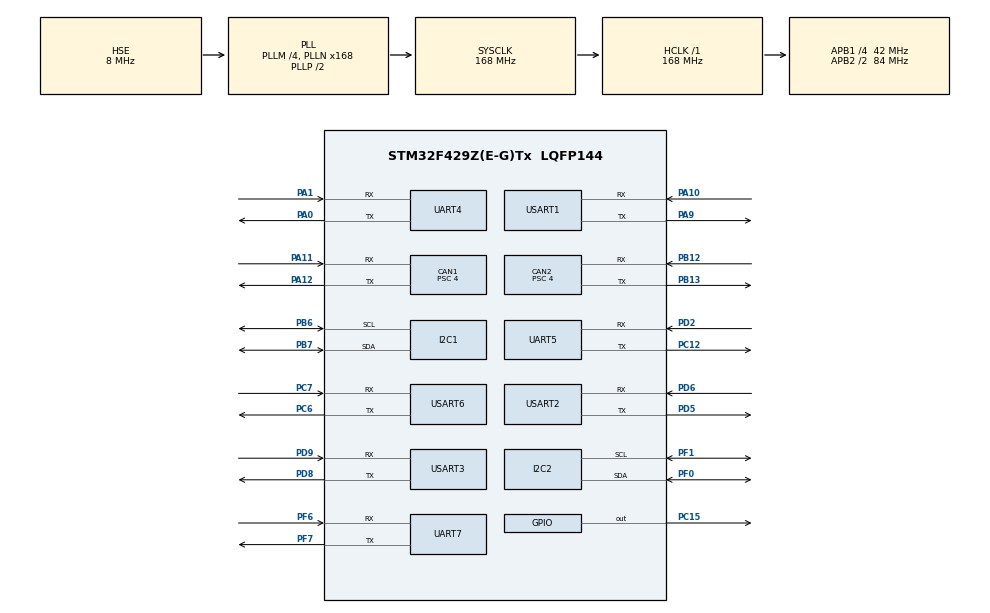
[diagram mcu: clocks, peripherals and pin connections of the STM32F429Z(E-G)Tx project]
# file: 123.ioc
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CAN1.BS1=CAN_BS1_14TQ
CAN1.BS2=CAN_BS2_6TQ
CAN1.CalculateBaudRate=500000
CAN1.CalculateTimeBit=2000
CAN1.CalculateTimeQuantum=95.23809523809524
CAN1.Prescaler=4
CAN2.BS1=CAN_BS1_14TQ
CAN2.BS2=CAN_BS2_6TQ
CAN2.CalculateBaudRate=500000
CAN2.CalculateTimeBit=2000
CAN2.CalculateTimeQuantum=95.23809523809524
CAN2.Prescaler=4
Dma.Request0=UART5_TX
Dma.Request1=USART1_TX
Dma.Request2=USART1_RX
Dma.Request3=USART2_RX
Dma.Request4=USART2_TX
Dma.Request5=USART3_RX
Dma.Request6=USART3_TX
Dma.Request7=UART5_RX
Dma.Request8=USART6_TX
Dma.Request9=USART6_RX
Dma.UART5_RX.7.Direction=DMA_PERIPH_TO_MEMORY
Dma.UART5_RX.7.FIFOMode=DMA_FIFOMODE_DISABLE
Dma.UART5_RX.7.Instance=DMA1_Stream0
Dma.UART5_RX.7.MemDataAlignment=DMA_MDATAALIGN_BYTE
Dma.UART5_RX.7.MemInc=DMA_MINC_ENABLE
Dma.UART5_RX.7.Mode=DMA_NORMAL
Dma.UART5_RX.7.PeriphDataAlignment=DMA_PDATAALIGN_BYTE
Dma.UART5_RX.7.PeriphInc=DMA_PINC_DISABLE
Dma.UART5_RX.7.Priority=DMA_PRIORITY_LOW
Dma.UART5_TX.0.Direction=DMA_MEMORY_TO_PERIPH
Dma.UART5_TX.0.FIFOMode=DMA_FIFOMODE_DISABLE
Dma.UART5_TX.0.Instance=DMA1_Stream7
Dma.UART5_TX.0.MemDataAlignment=DMA_MDATAALIGN_BYTE
Dma.UART5_TX.0.MemInc=DMA_MINC_ENABLE
Dma.UART5_TX.0.Mode=DMA_NORMAL
Dma.UART5_TX.0.PeriphDataAlignment=DMA_PDATAALIGN_BYTE
Dma.UART5_TX.0.PeriphInc=DMA_PINC_DISABLE
Dma.UART5_TX.0.Priority=DMA_PRIORITY_LOW
Dma.USART1_RX.2.Direction=DMA_PERIPH_TO_MEMORY
Dma.USART1_RX.2.FIFOMode=DMA_FIFOMODE_DISABLE
Dma.USART1_RX.2.Instance=DMA2_Stream2
Dma.USART1_RX.2.MemDataAlignment=DMA_MDATAALIGN_BYTE
Dma.USART1_RX.2.MemInc=DMA_MINC_ENABLE
Dma.USART1_RX.2.Mode=DMA_NORMAL
Dma.USART1_RX.2.PeriphDataAlignment=DMA_PDATAALIGN_BYTE
Dma.USART1_RX.2.PeriphInc=DMA_PINC_DISABLE
Dma.USART1_RX.2.Priority=DMA_PRIORITY_LOW
Dma.USART1_TX.1.Direction=DMA_MEMORY_TO_PERIPH
Dma.USART1_TX.1.FIFOMode=DMA_FIFOMODE_DISABLE
Dma.USART1_TX.1.Instance=DMA2_Stream7
Dma.USART1_TX.1.MemDataAlignment=DMA_MDATAALIGN_BYTE
Dma.USART1_TX.1.MemInc=DMA_MINC_ENABLE
Dma.USART1_TX.1.Mode=DMA_NORMAL
Dma.USART1_TX.1.PeriphDataAlignment=DMA_PDATAALIGN_BYTE
Dma.USART1_TX.1.PeriphInc=DMA_PINC_DISABLE
Dma.USART1_TX.1.Priority=DMA_PRIORITY_LOW
Dma.USART2_RX.3.Direction=DMA_PERIPH_TO_MEMORY
Dma.USART2_RX.3.FIFOMode=DMA_FIFOMODE_DISABLE
Dma.USART2_RX.3.Instance=DMA1_Stream5
Dma.USART2_RX.3.MemDataAlignment=DMA_MDATAALIGN_BYTE
Dma.USART2_RX.3.MemInc=DMA_MINC_ENABLE
Dma.USART2_RX.3.Mode=DMA_NORMAL
Dma.USART2_RX.3.PeriphDataAlignment=DMA_PDATAALIGN_BYTE
Dma.USART2_RX.3.PeriphInc=DMA_PINC_DISABLE
Dma.USART2_RX.3.Priority=DMA_PRIORITY_LOW
Dma.USART2_TX.4.Direction=DMA_MEMORY_TO_PERIPH
Dma.USART2_TX.4.FIFOMode=DMA_FIFOMODE_DISABLE
Dma.USART2_TX.4.Instance=DMA1_Stream6
Dma.USART2_TX.4.MemDataAlignment=DMA_MDATAALIGN_BYTE
Dma.USART2_TX.4.MemInc=DMA_MINC_ENABLE
Dma.USART2_TX.4.Mode=DMA_NORMAL
Dma.USART2_TX.4.PeriphDataAlignment=DMA_PDATAALIGN_BYTE
Dma.USART2_TX.4.PeriphInc=DMA_PINC_DISABLE
Dma.USART2_TX.4.Priority=DMA_PRIORITY_LOW
Dma.USART3_RX.5.Direction=DMA_PERIPH_TO_MEMORY
Dma.USART3_RX.5.FIFOMode=DMA_FIFOMODE_DISABLE
Dma.USART3_RX.5.Instance=DMA1_Stream1
Dma.USART3_RX.5.MemDataAlignment=DMA_MDATAALIGN_BYTE
Dma.USART3_RX.5.MemInc=DMA_MINC_ENABLE
Dma.USART3_RX.5.Mode=DMA_NORMAL
Dma.USART3_RX.5.PeriphDataAlignment=DMA_PDATAALIGN_BYTE
Dma.USART3_RX.5.PeriphInc=DMA_PINC_DISABLE
Dma.USART3_RX.5.Priority=DMA_PRIORITY_LOW
Dma.USART3_TX.6.Direction=DMA_MEMORY_TO_PERIPH
Dma.USART3_TX.6.FIFOMode=DMA_FIFOMODE_DISABLE
Dma.USART3_TX.6.Instance=DMA1_Stream4
Dma.USART3_TX.6.MemDataAlignment=DMA_MDATAALIGN_BYTE
Dma.USART3_TX.6.MemInc=DMA_MINC_ENABLE
Dma.USART3_TX.6.Mode=DMA_NORMAL
Dma.USART3_TX.6.PeriphDataAlignment=DMA_PDATAALIGN_BYTE
Dma.USART3_TX.6.PeriphInc=DMA_PINC_DISABLE
Dma.USART3_TX.6.Priority=DMA_PRIORITY_LOW
Dma.USART6_RX.9.Direction=DMA_PERIPH_TO_MEMORY
Dma.USART6_RX.9.FIFOMode=DMA_FIFOMODE_DISABLE
Dma.USART6_RX.9.Instance=DMA2_Stream1
Dma.USART6_RX.9.MemDataAlignment=DMA_MDATAALIGN_BYTE
Dma.USART6_RX.9.MemInc=DMA_MINC_ENABLE
Dma.USART6_RX.9.Mode=DMA_NORMAL
Dma.USART6_RX.9.PeriphDataAlignment=DMA_PDATAALIGN_BYTE
Dma.USART6_RX.9.PeriphInc=DMA_PINC_DISABLE
Dma.USART6_RX.9.Priority=DMA_PRIORITY_LOW
Dma.USART6_TX.8.Direction=DMA_MEMORY_TO_PERIPH
Dma.USART6_TX.8.FIFOMode=DMA_FIFOMODE_DISABLE
Dma.USART6_TX.8.Instance=DMA2_Stream6
Dma.USART6_TX.8.MemDataAlignment=DMA_MDATAALIGN_BYTE
Dma.USART6_TX.8.MemInc=DMA_MINC_ENABLE
Dma.USART6_TX.8.Mode=DMA_NORMAL
Dma.USART6_TX.8.PeriphDataAlignment=DMA_PDATAALIGN_BYTE
Dma.USART6_TX.8.PeriphInc=DMA_PINC_DISABLE
Dma.USART6_TX.8.Priority=DMA_PRIORITY_LOW
FREERTOS.Tasks01=defaultTask,24,128,StartDefaultTask,Default,NULL,Dynamic,NULL,NULL
FREERTOS.configCHECK_FOR_STACK_OVERFLOW=1
FREERTOS.configIDLE_SHOULD_YIELD=0
FREERTOS.configLIBRARY_LOWEST_INTERRUPT_PRIORITY=15
FREERTOS.configTOTAL_HEAP_SIZE=25360
I2C1.AddressingMode=I2C_ADDRESSINGMODE_7BIT
I2C1.DualAddressMode=I2C_DUALADDRESS_DISABLE
I2C1.GeneralCallMode=I2C_GENERALCALL_DISABLE
I2C1.I2C_Mode=I2C_Fast
I2C2.I2C_Mode=I2C_Fast
Mcu.Family=STM32F4
Mcu.Name=STM32F429Z(E-G)Tx
Mcu.Package=LQFP144
NVIC.CAN1_RX0_IRQn=true\:5\:0\:false\:false\:true\:true\:true\:true\:true
NVIC.CAN1_RX1_IRQn=true\:5\:0\:false\:false\:true\:true\:true\:true\:true
NVIC.CAN1_TX_IRQn=true\:5\:0\:false\:false\:true\:true\:true\:true\:true
NVIC.CAN2_RX0_IRQn=true\:5\:0\:false\:false\:true\:true\:true\:true\:true
NVIC.CAN2_RX1_IRQn=true\:5\:0\:false\:false\:true\:true\:true\:true\:true
NVIC.CAN2_TX_IRQn=true\:5\:0\:false\:false\:true\:true\:true\:true\:true
NVIC.DMA1_Stream0_IRQn=true\:5\:0\:false\:false\:true\:true\:false\:true\:true
NVIC.DMA1_Stream1_IRQn=true\:5\:0\:false\:false\:true\:true\:false\:true\:true
NVIC.DMA1_Stream4_IRQn=true\:5\:0\:false\:false\:true\:true\:false\:true\:true
NVIC.DMA1_Stream5_IRQn=true\:5\:0\:false\:false\:true\:true\:false\:true\:true
NVIC.DMA1_Stream6_IRQn=true\:5\:0\:false\:false\:true\:true\:false\:true\:true
NVIC.DMA1_Stream7_IRQn=true\:5\:0\:false\:false\:true\:true\:false\:true\:true
NVIC.DMA2_Stream1_IRQn=true\:5\:0\:false\:false\:true\:true\:false\:true\:true
NVIC.DMA2_Stream2_IRQn=true\:5\:0\:false\:false\:true\:true\:false\:true\:true
NVIC.DMA2_Stream6_IRQn=true\:5\:0\:false\:false\:true\:true\:false\:true\:true
NVIC.DMA2_Stream7_IRQn=true\:5\:0\:false\:false\:true\:true\:false\:true\:true
NVIC.I2C1_ER_IRQn=true\:5\:0\:false\:false\:true\:true\:true\:true\:true
NVIC.I2C1_EV_IRQn=true\:5\:0\:false\:false\:true\:true\:true\:true\:true
NVIC.I2C2_ER_IRQn=true\:5\:0\:false\:false\:true\:true\:true\:true\:true
NVIC.I2C2_EV_IRQn=true\:5\:0\:false\:false\:true\:true\:true\:true\:true
NVIC.PriorityGroup=NVIC_PRIORITYGROUP_4
NVIC.TIM1_BRK_TIM9_IRQn=true\:5\:0\:false\:false\:true\:true\:true\:true\:true
NVIC.TIM1_UP_TIM10_IRQn=true\:5\:0\:false\:false\:true\:true\:true\:true\:true
NVIC.TIM8_UP_TIM13_IRQn=true\:15\:0\:false\:false\:true\:false\:false\:true\:true
NVIC.TimeBase=TIM8_UP_TIM13_IRQn
NVIC.TimeBaseIP=TIM8
NVIC.UART4_IRQn=true\:5\:0\:false\:false\:true\:true\:true\:true\:true
NVIC.UART5_IRQn=true\:5\:0\:false\:false\:true\:true\:true\:true\:true
NVIC.UART7_IRQn=true\:5\:0\:false\:false\:true\:true\:true\:true\:true
NVIC.USART1_IRQn=true\:5\:0\:false\:false\:true\:true\:true\:true\:true
NVIC.USART2_IRQn=true\:5\:0\:false\:false\:true\:true\:true\:true\:true
NVIC.USART3_IRQn=true\:5\:0\:false\:false\:true\:true\:true\:true\:true
NVIC.USART6_IRQn=true\:5\:0\:false\:false\:true\:true\:true\:true\:true
PA0/WKUP.Mode=Asynchronous
PA0/WKUP.Signal=UART4_TX
PA1.Mode=Asynchronous
PA1.Signal=UART4_RX
PA10.Mode=Asynchronous
PA10.Signal=USART1_RX
PA11.Mode=CAN_Activate
PA11.Signal=CAN1_RX
PA12.Mode=CAN_Activate
PA12.Signal=CAN1_TX
PA13.Mode=Serial_Wire
PA13.Signal=SYS_JTMS-SWDIO
PA14.Mode=Serial_Wire
PA14.Signal=SYS_JTCK-SWCLK
PA9.Mode=Asynchronous
PA9.Signal=USART1_TX
PB12.Mode=CAN_Activate
PB12.Signal=CAN2_RX
PB13.Mode=CAN_Activate
PB13.Signal=CAN2_TX
PB6.Mode=I2C
PB6.Signal=I2C1_SCL
PB7.Mode=I2C
PB7.Signal=I2C1_SDA
PC12.Mode=Asynchronous
PC12.Signal=UART5_TX
PC15/OSC32_OUT.GPIO_ModeDefaultOutputPP=GPIO_MODE_OUTPUT_PP
PC15/OSC32_OUT.GPIO_PuPd=GPIO_PULLUP
PC15/OSC32_OUT.Signal=GPIO_Output
PC6.Mode=Asynchronous
PC6.Signal=USART6_TX
PC7.Mode=Asynchronous
PC7.Signal=USART6_RX
PD2.Mode=Asynchronous
PD2.Signal=UART5_RX
PD5.Mode=Asynchronous
PD5.Signal=USART2_TX
PD6.Mode=Asynchronous
PD6.Signal=USART2_RX
PD8.Mode=Asynchronous
PD8.Signal=USART3_TX
PD9.Mode=Asynchronous
PD9.Signal=USART3_RX
PF0.Mode=I2C
PF0.Signal=I2C2_SDA
PF1.Mode=I2C
PF1.Signal=I2C2_SCL
PF6.GPIO_PuPd=GPIO_PULLUP
PF6.Mode=Asynchronous
PF6.Signal=UART7_RX
PF7.GPIO_PuPd=GPIO_NOPULL
PF7.Mode=Asynchronous
PF7.Signal=UART7_TX
PH0/OSC_IN.Mode=HSE-External-Oscillator
PH0/OSC_IN.Signal=RCC_OSC_IN
PH1/OSC_OUT.Mode=HSE-External-Oscillator
PH1/OSC_OUT.Signal=RCC_OSC_OUT
ProjectManager.HeapSize=0x1200
ProjectManager.StackSize=0x800
ProjectManager.TargetToolchain=MDK-ARM V5.32
RCC.48MHZClocksFreq_Value=84000000
RCC.AHBFreq_Value=168000000
RCC.APB1CLKDivider=RCC_HCLK_DIV4
RCC.APB1Freq_Value=42000000
RCC.APB1TimFreq_Value=84000000
RCC.APB2CLKDivider=RCC_HCLK_DIV2
RCC.APB2Freq_Value=84000000
RCC.APB2TimFreq_Value=168000000
RCC.CortexFreq_Value=168000000
RCC.HCLKFreq_Value=168000000
RCC.HSE_VALUE=8000000
RCC.HSI_VALUE=16000000
RCC.LSE_VALUE=32768
RCC.PLLM=4
RCC.PLLN=168
RCC.PLLSourceVirtual=RCC_PLLSOURCE_HSE
RCC.SYSCLKFreq_VALUE=168000000
RCC.SYSCLKSource=RCC_SYSCLKSOURCE_PLLCLK
RCC.VCOOutputFreq_Value=336000000
TIM1.Period=1000
TIM1.Prescaler=168
UART4.VirtualMode=Asynchronous
UART5.VirtualMode=Asynchronous
UART7.VirtualMode=Asynchronous
USART1.VirtualMode=VM_ASYNC
USART2.VirtualMode=VM_ASYNC
USART3.VirtualMode=VM_ASYNC
USART6.VirtualMode=VM_ASYNC
VP_FREERTOS_VS_CMSIS_V2.Mode=CMSIS_V2
VP_SYS_VS_tim8.Mode=TIM8
VP_TIM1_VS_ClockSourceINT.Mode=Internal
board=custom

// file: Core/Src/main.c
/* USER CODE BEGIN Header */
/**
  ******************************************************************************
  * @file           : main.c
  * @brief          : Main program body
  ******************************************************************************
  * @attention
  *
  * Copyright (c) 2025 STMicroelectronics.
  * All rights reserved.
  *
  * This software is licensed under terms that can be found in the LICENSE file
  * in the root directory of this software component.
  * If no LICENSE file comes with this software, it is provided AS-IS.
  *
  ******************************************************************************
  */
/* USER CODE END Header */
#include "main.h"
#include "cmsis_os.h"
#include "can.h"
#include "dma.h"
#include "i2c.h"
#include "tim.h"
#include "usart.h"
#include "gpio.h"

/* USER CODE BEGIN Includes */
//#include "trcRecorder.h"
#include "bsp_log.h"
/* USER CODE END Includes */

/* USER CODE BEGIN PTD */
//
/* USER CODE END PTD */

void SystemClock_Config(void);
void MX_FREERTOS_Init(void);
int test(void);

int main(void)
{

  /* MCU Configuration--------------------------------------------------------*/

  /* Reset of all peripherals, Initializes the Flash interface and the Systick. */
  HAL_Init();

  /* Configure the system clock */
  SystemClock_Config();

  /* Initialize all configured peripherals */
  MX_GPIO_Init();
  MX_DMA_Init();
  MX_CAN1_Init();
  MX_UART4_Init();
  MX_USART1_UART_Init();
  MX_TIM1_Init();
  MX_UART7_Init();
  MX_USART6_UART_Init();
  MX_UART5_Init();
  MX_USART2_UART_Init();
  MX_USART3_UART_Init();
  MX_CAN2_Init();
  MX_I2C1_Init();
  MX_I2C2_Init();
  /* USER CODE BEGIN 2 */
  HAL_TIM_Base_Start_IT(&htim1);
  /* USER CODE END 2 */

  /* Init scheduler */
  osKernelInitialize();  /* Call init function for freertos objects (in cmsis_os2.c) */
  MX_FREERTOS_Init();

  /* Start scheduler */
  osKernelStart();

  /* We should never get here as control is now taken by the scheduler */

  /* Infinite loop */
  while (1)
  {

  }
}

void SystemClock_Config(void)
{
  RCC_OscInitTypeDef RCC_OscInitStruct = {0};
  RCC_ClkInitTypeDef RCC_ClkInitStruct = {0};

  /** Configure the main internal regulator output voltage
  */
  __HAL_RCC_PWR_CLK_ENABLE();
  __HAL_PWR_VOLTAGESCALING_CONFIG(PWR_REGULATOR_VOLTAGE_SCALE1);

  /** Initializes the RCC Oscillators according to the specified parameters
  * in the RCC_OscInitTypeDef structure.
  */
  RCC_OscInitStruct.OscillatorType = RCC_OSCILLATORTYPE_HSE;
  RCC_OscInitStruct.HSEState = RCC_HSE_ON;
  RCC_OscInitStruct.PLL.PLLState = RCC_PLL_ON;
  RCC_OscInitStruct.PLL.PLLSource = RCC_PLLSOURCE_HSE;
  RCC_OscInitStruct.PLL.PLLM = 4;
  RCC_OscInitStruct.PLL.PLLN = 168;
  RCC_OscInitStruct.PLL.PLLP = RCC_PLLP_DIV2;
  RCC_OscInitStruct.PLL.PLLQ = 4;
  if (HAL_RCC_OscConfig(&RCC_OscInitStruct) != HAL_OK)
  {
    Error_Handler();
  }

  /** Initializes the CPU, AHB and APB buses clocks
  */
  RCC_ClkInitStruct.ClockType = RCC_CLOCKTYPE_HCLK|RCC_CLOCKTYPE_SYSCLK
                              |RCC_CLOCKTYPE_PCLK1|RCC_CLOCKTYPE_PCLK2;
  RCC_ClkInitStruct.SYSCLKSource = RCC_SYSCLKSOURCE_PLLCLK;
  RCC_ClkInitStruct.AHBCLKDivider = RCC_SYSCLK_DIV1;
  RCC_ClkInitStruct.APB1CLKDivider = RCC_HCLK_DIV4;
  RCC_ClkInitStruct.APB2CLKDivider = RCC_HCLK_DIV2;

  if (HAL_RCC_ClockConfig(&RCC_ClkInitStruct, FLASH_LATENCY_5) != HAL_OK)
  {
    Error_Handler();
  }
}

/* USER CODE BEGIN 4 */
extern uint32_t CountData[8];

/* USER CODE END 4 */

void HAL_TIM_PeriodElapsedCallback(TIM_HandleTypeDef *htim)
{
  /* USER CODE BEGIN Callback 0 */
  static int cnt1 = 0;
  if (htim->Instance == TIM1)
  {
    if(cnt1++ >= 1000)
    {
      CountData[0] = 0;
      cnt1 = 0;
      // LOG("i am the god\r\n");
    }
  }
  /* USER CODE END Callback 0 */
  if (htim->Instance == TIM8)
  {
    HAL_IncTick();
  }
}

void Error_Handler(void)
{
  __disable_irq();
  while (1)
  {
  }
}

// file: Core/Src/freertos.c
/* USER CODE BEGIN Header */
/**
  ******************************************************************************
  * File Name          : freertos.c
  * Description        : Code for freertos applications
  ******************************************************************************
  * @attention
  *
  * Copyright (c) 2025 STMicroelectronics.
  * All rights reserved.
  *
  * This software is licensed under terms that can be found in the LICENSE file
  * in the root directory of this software component.
  * If no LICENSE file comes with this software, it is provided AS-IS.
  *
  ******************************************************************************
  */
/* USER CODE END Header */

#include "FreeRTOS.h"
#include "task.h"
#include "main.h"
#include "cmsis_os.h"

/* USER CODE BEGIN Includes */
#include "user.h"
#include "bsp_log.h"
/* USER CODE END Includes */

/* USER CODE BEGIN PD */
uint32_t stack;
/* USER CODE END PD */

/* Definitions for defaultTask */
osThreadId_t defaultTaskHandle;
const osThreadAttr_t defaultTask_attributes = {
  .name = "defaultTask",
  .stack_size = 256 * 4,
  .priority = (osPriority_t) osPriorityNormal,
};

void StartDefaultTask(void *argument);

void MX_FREERTOS_Init(void); /* (MISRA C 2004 rule 8.1) */

/* Hook prototypes */
void vApplicationStackOverflowHook(xTaskHandle xTask, signed char *pcTaskName);

/* USER CODE BEGIN 4 */
void vApplicationStackOverflowHook(xTaskHandle xTask, signed char *pcTaskName)
{
  LOG("Stack overflow in task %s", pcTaskName);

   /* Run time stack overflow checking is performed if
   configCHECK_FOR_STACK_OVERFLOW is defined to 1 or 2. This hook function is
   called if a stack overflow is detected. */
}
/* USER CODE END 4 */

void MX_FREERTOS_Init(void) {

  /* Create the thread(s) */
  /* creation of defaultTask */
  defaultTaskHandle = osThreadNew(StartDefaultTask, NULL, &defaultTask_attributes);

}

void StartDefaultTask(void *argument)
{
  /* USER CODE BEGIN StartDefaultTask */

  UserInit();
  /* Infinite loop */
  for(;;)
  {
    static int i = 0;
		if(i++>=1000)
		{
      LOG("running");
			HAL_GPIO_TogglePin(GPIOC,GPIO_PIN_15);
      stack = uxTaskGetStackHighWaterMark(defaultTaskHandle);
			i=0;
		}

    osDelay(1);
  }
  /* USER CODE END StartDefaultTask */
}
